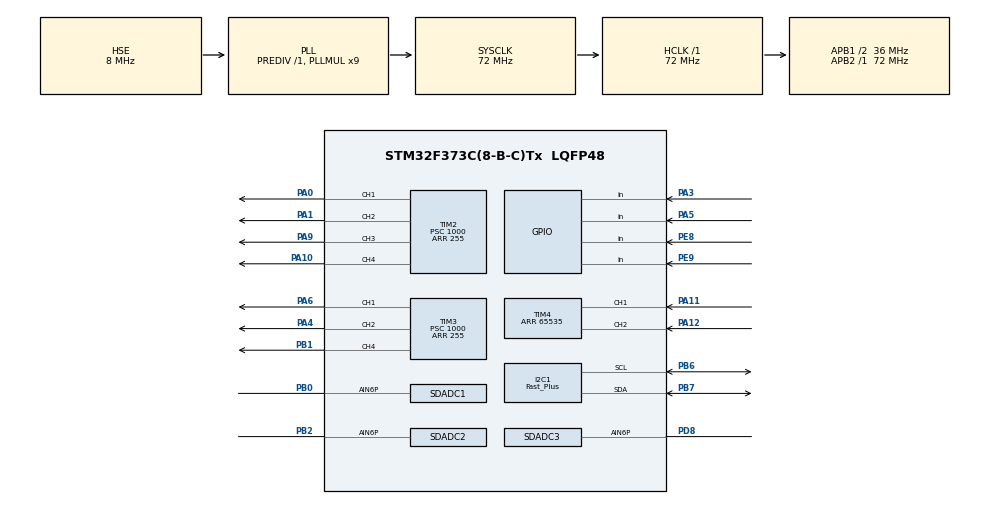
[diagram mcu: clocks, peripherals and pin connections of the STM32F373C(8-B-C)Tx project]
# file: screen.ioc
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Dma.Request0=SDADC1
Dma.Request1=SDADC2
Dma.Request2=SDADC3
Dma.SDADC1.0.Direction=DMA_PERIPH_TO_MEMORY
Dma.SDADC1.0.Instance=DMA2_Channel3
Dma.SDADC1.0.MemDataAlignment=DMA_MDATAALIGN_HALFWORD
Dma.SDADC1.0.MemInc=DMA_MINC_ENABLE
Dma.SDADC1.0.Mode=DMA_NORMAL
Dma.SDADC1.0.PeriphDataAlignment=DMA_PDATAALIGN_HALFWORD
Dma.SDADC1.0.PeriphInc=DMA_PINC_DISABLE
Dma.SDADC1.0.Priority=DMA_PRIORITY_HIGH
Dma.SDADC2.1.Direction=DMA_PERIPH_TO_MEMORY
Dma.SDADC2.1.Instance=DMA2_Channel4
Dma.SDADC2.1.MemDataAlignment=DMA_MDATAALIGN_HALFWORD
Dma.SDADC2.1.MemInc=DMA_MINC_ENABLE
Dma.SDADC2.1.Mode=DMA_NORMAL
Dma.SDADC2.1.PeriphDataAlignment=DMA_PDATAALIGN_HALFWORD
Dma.SDADC2.1.PeriphInc=DMA_PINC_DISABLE
Dma.SDADC2.1.Priority=DMA_PRIORITY_HIGH
Dma.SDADC3.2.Direction=DMA_PERIPH_TO_MEMORY
Dma.SDADC3.2.Instance=DMA2_Channel5
Dma.SDADC3.2.MemDataAlignment=DMA_MDATAALIGN_HALFWORD
Dma.SDADC3.2.MemInc=DMA_MINC_ENABLE
Dma.SDADC3.2.Mode=DMA_NORMAL
Dma.SDADC3.2.PeriphDataAlignment=DMA_PDATAALIGN_HALFWORD
Dma.SDADC3.2.PeriphInc=DMA_PINC_DISABLE
Dma.SDADC3.2.Priority=DMA_PRIORITY_HIGH
I2C1.Analog_Filter=I2C_ANALOGFILTER_DISABLE
I2C1.I2C_Speed_Mode=I2C_Fast_Plus
I2C1.Timing=0x00000002
Mcu.Family=STM32F3
Mcu.Name=STM32F373C(8-B-C)Tx
Mcu.Package=LQFP48
NVIC.DMA2_Channel3_IRQn=true\:0\:0\:false\:false\:true\:false\:true
NVIC.DMA2_Channel4_IRQn=true\:0\:0\:false\:false\:true\:false\:true
NVIC.DMA2_Channel5_IRQn=true\:0\:0\:false\:false\:true\:false\:true
NVIC.PriorityGroup=NVIC_PRIORITYGROUP_4
NVIC.TIM14_IRQn=true\:0\:0\:false\:false\:true\:true\:true
PA0.Signal=S_TIM2_CH1_ETR
PA1.Signal=S_TIM2_CH2
PA10.Signal=S_TIM2_CH4
PA11.GPIO_PuPd=GPIO_PULLUP
PA11.Signal=S_TIM4_CH1
PA12.GPIO_PuPd=GPIO_PULLUP
PA12.Signal=S_TIM4_CH2
PA13.Mode=Serial_Wire
PA13.Signal=SYS_JTMS-SWDIO
PA14.Mode=Serial_Wire
PA14.Signal=SYS_JTCK-SWCLK
PA3.GPIO_PuPd=GPIO_PULLUP
PA3.Signal=GPIO_Input
PA4.Signal=S_TIM3_CH2
PA5.GPIO_PuPd=GPIO_PULLUP
PA5.Signal=GPIO_Input
PA6.Signal=S_TIM3_CH1
PA9.Signal=S_TIM2_CH3
PB0.Mode=IN6-Single-Ended zero reference
PB0.Signal=SDADC1_AIN6P
PB1.Signal=S_TIM3_CH4
PB2.Mode=IN6-Single-Ended zero reference
PB2.Signal=SDADC2_AIN6P
PB6.Mode=I2C
PB6.Signal=I2C1_SCL
PB7.Mode=I2C
PB7.Signal=I2C1_SDA
PD8.Mode=IN6-Single-Ended zero reference
PD8.Signal=SDADC3_AIN6P
PE8.GPIO_PuPd=GPIO_PULLUP
PE8.Signal=GPIO_Input
PE9.GPIO_PuPd=GPIO_PULLUP
PE9.Signal=GPIO_Input
PF0-OSC_IN.Mode=HSE-External-Oscillator
PF0-OSC_IN.Signal=RCC_OSC_IN
PF1-OSC_OUT.Mode=HSE-External-Oscillator
PF1-OSC_OUT.Signal=RCC_OSC_OUT
ProjectManager.HeapSize=0x200
ProjectManager.StackSize=0x400
ProjectManager.TargetToolchain=Makefile
RCC.AHBFreq_Value=72000000
RCC.APB1CLKDivider=RCC_HCLK_DIV2
RCC.APB1Freq_Value=36000000
RCC.APB1TimFreq_Value=72000000
RCC.APB2Freq_Value=72000000
RCC.APB2TimFreq_Value=72000000
RCC.CortexFreq_Value=72000000
RCC.HCLKFreq_Value=72000000
RCC.HSE_VALUE=8000000
RCC.HSI_VALUE=8000000
RCC.LSE_VALUE=32768
RCC.PLLMUL=RCC_PLL_MUL9
RCC.PLLSourceVirtual=RCC_PLLSOURCE_HSE
RCC.SDADCPresc=RCC_SDADCSYSCLK_DIV12
RCC.SYSCLKFreq_VALUE=72000000
RCC.SYSCLKSource=RCC_SYSCLKSOURCE_PLLCLK
RCC.USBFreq_Value=72000000
SDADC1.CommonMode0=SDADC_COMMON_MODE_VSSA
SDADC1.EnableInjectedConversion=ENABLE
SDADC1.EnableRegularconversion=DISABLE
SDADC1.FastConversionMode=SDADC_FAST_CONV_ENABLE
SDADC1.IdleLowPowerMode=SDADC_LOWPOWER_NONE
SDADC1.InjNumberOfConversion=1
SDADC1.InjectedChannel-0\#ChannelInjectedConversion=SDADC_CHANNEL_6
SDADC1.InjectedChannelsSelection=SDADC_CHANNEL_6
SDADC1.InjectedConfIndex-0\#ChannelInjectedConversion=SDADC_CONF_INDEX_0
SDADC1.InjectedContinuousMode=SDADC_CONTINUOUS_CONV_ON
SDADC1.InjectedExtTrigger=SDADC_EXT_TRIG_TIM19_CC2
SDADC1.InjectedRank-0\#ChannelInjectedConversion=1
SDADC1.InjectedTrigger=SDADC_EXTERNAL_TRIGGER
SDADC1.InputMode0=SDADC_INPUT_MODE_SE_ZERO_REFERENCE
SDADC1.NbrOfConversionFlag=1
SDADC1.ReferenceVoltage=SDADC_VREF_VDDA
SDADC2.EnableInjectedConversion=ENABLE
SDADC2.EnableRegularconversion=DISABLE
SDADC2.FastConversionMode=SDADC_FAST_CONV_ENABLE
SDADC2.InjNumberOfConversion=1
SDADC2.InjectedChannel-0\#ChannelInjectedConversion=SDADC_CHANNEL_6
SDADC2.InjectedChannelsSelection=SDADC_CHANNEL_6
SDADC2.InjectedConfIndex-0\#ChannelInjectedConversion=SDADC_CONF_INDEX_0
SDADC2.InjectedContinuousMode=SDADC_CONTINUOUS_CONV_ON
SDADC2.InjectedExtTrigger=SDADC_EXT_TRIG_TIM19_CC3
SDADC2.InjectedRank-0\#ChannelInjectedConversion=1
SDADC2.InjectedTrigger=SDADC_EXTERNAL_TRIGGER
SDADC2.InputMode0=SDADC_INPUT_MODE_SE_ZERO_REFERENCE
SDADC2.NbrOfConversionFlag=1
SDADC2.ReferenceVoltage=SDADC_VREF_VDDA
SDADC3.EnableInjectedConversion=ENABLE
SDADC3.EnableRegularconversion=DISABLE
SDADC3.FastConversionMode=SDADC_FAST_CONV_ENABLE
SDADC3.InjNumberOfConversion=1
SDADC3.InjectedChannel-0\#ChannelInjectedConversion=SDADC_CHANNEL_6
SDADC3.InjectedChannelsSelection=SDADC_CHANNEL_6
SDADC3.InjectedConfIndex-0\#ChannelInjectedConversion=SDADC_CONF_INDEX_0
SDADC3.InjectedContinuousMode=SDADC_CONTINUOUS_CONV_ON
SDADC3.InjectedExtTrigger=SDADC_EXT_TRIG_TIM19_CC4
SDADC3.InjectedRank-0\#ChannelInjectedConversion=1
SDADC3.InjectedTrigger=SDADC_EXTERNAL_TRIGGER
SDADC3.InputMode0=SDADC_INPUT_MODE_SE_ZERO_REFERENCE
SDADC3.NbrOfConversionFlag=1
SDADC3.ReferenceVoltage=SDADC_VREF_VDDA
SH.S_TIM2_CH1_ETR.0=TIM2_CH1,PWM Generation1 CH1
SH.S_TIM2_CH2.0=TIM2_CH2,PWM Generation2 CH2
SH.S_TIM2_CH3.0=TIM2_CH3,PWM Generation3 CH3
SH.S_TIM2_CH4.0=TIM2_CH4,PWM Generation4 CH4
SH.S_TIM3_CH1.0=TIM3_CH1,PWM Generation1 CH1
SH.S_TIM3_CH2.0=TIM3_CH2,PWM Generation2 CH2
SH.S_TIM3_CH4.0=TIM3_CH4,PWM Generation4 CH4
SH.S_TIM4_CH1.0=TIM4_CH1,Encoder_Interface
SH.S_TIM4_CH2.0=TIM4_CH2,Encoder_Interface
TIM14.Channel=TIM_CHANNEL_1
TIM14.Period=999
TIM14.Prescaler=71
TIM19.Channel-PWM\ Generation2\ No\ Output=TIM_CHANNEL_2
TIM19.Channel-PWM\ Generation3\ No\ Output=TIM_CHANNEL_3
TIM19.Channel-PWM\ Generation4\ No\ Output=TIM_CHANNEL_4
TIM19.Period=2249
TIM19.Pulse-PWM\ Generation2\ No\ Output=1
TIM19.Pulse-PWM\ Generation3\ No\ Output=1
TIM19.Pulse-PWM\ Generation4\ No\ Output=1
TIM2.Channel-PWM\ Generation1\ CH1=TIM_CHANNEL_1
TIM2.Channel-PWM\ Generation2\ CH2=TIM_CHANNEL_2
TIM2.Channel-PWM\ Generation3\ CH3=TIM_CHANNEL_3
TIM2.Channel-PWM\ Generation4\ CH4=TIM_CHANNEL_4
TIM2.Period=255
TIM2.Prescaler=1000
TIM3.Channel-PWM\ Generation1\ CH1=TIM_CHANNEL_1
TIM3.Channel-PWM\ Generation2\ CH2=TIM_CHANNEL_2
TIM3.Channel-PWM\ Generation4\ CH4=TIM_CHANNEL_4
TIM3.Period=255
TIM3.Prescaler=1000
TIM4.IC1Polarity=TIM_ICPOLARITY_FALLING
TIM4.IC2Polarity=TIM_ICPOLARITY_FALLING
TIM4.Period=65535
VP_SDADC1_CONF0.Mode=ConfigZero
VP_SDADC2_CONF0.Mode=ConfigZero
VP_SDADC3_CONF0.Mode=ConfigZero
VP_TIM14_VS_ClockSourceINT.Mode=Enable_Timer
VP_TIM14_VS_no_output1.Mode=Output Compare1 No Output
VP_TIM19_VS_no_output2.Mode=PWM Generation2 No Output
VP_TIM19_VS_no_output3.Mode=PWM Generation3 No Output
VP_TIM19_VS_no_output4.Mode=PWM Generation4 No Output
board=custom

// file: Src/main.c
/* USER CODE BEGIN Header */
/**
  ******************************************************************************
  * @file           : main.c
  * @brief          : Main program body
  ******************************************************************************
  * @attention
  *
  * <h2><center>&copy; Copyright (c) 2020 STMicroelectronics.
  * All rights reserved.</center></h2>
  *
  * This software component is licensed by ST under BSD 3-Clause license,
  * the "License"; You may not use this file except in compliance with the
  * License. You may obtain a copy of the License at:
  *                        opensource.org/licenses/BSD-3-Clause
  *
  ******************************************************************************
  */
/* USER CODE END Header */

#include "main.h"
#include "dma.h"
#include "i2c.h"
#include "sdadc.h"
#include "tim.h"
#include "gpio.h"

/* USER CODE BEGIN Includes */

#include <stdlib.h>
#include <stdint.h>
#include <stdbool.h>
#include "stm32f373xc.h"

#include "acquisition.h"
#include "configuration.h"
#include "led.h"
#include "process.h"
/* USER CODE END Includes */

/* USER CODE BEGIN PD */
#define USE_HAL_SDADC_REGISTER_CALLBACKS
/* USER CODE END PD */

void SystemClock_Config(void);

int main(void)
{

  /* MCU Configuration--------------------------------------------------------*/

  /* Reset of all peripherals, Initializes the Flash interface and the Systick. */
  HAL_Init();

  /* Configure the system clock */
  SystemClock_Config();

  /* Initialize all configured peripherals */
  MX_GPIO_Init();
  MX_DMA_Init();
  MX_I2C1_Init();
  MX_SDADC1_Init();
  MX_SDADC2_Init();
  MX_SDADC3_Init();
  MX_TIM4_Init();
  MX_TIM2_Init();
  MX_TIM3_Init();
  MX_TIM14_Init();
  MX_TIM19_Init();

  /* USER CODE BEGIN 2 */
  __HAL_TIM_ENABLE(&htim4); // enc

  // FFT_Init();
  Led_Init();
  Config_Init(); // CONFIG BEFORE ACQUISITION

  Acquisition_Init();

  Display_Init();
  /* USER CODE END 2 */

  /* Infinite loop */
  /* USER CODE BEGIN WHILE */
  while (1)
  {
    Process();
    /* USER CODE END WHILE */
  }
}

void SystemClock_Config(void)
{
  RCC_OscInitTypeDef RCC_OscInitStruct = {0};
  RCC_ClkInitTypeDef RCC_ClkInitStruct = {0};
  RCC_PeriphCLKInitTypeDef PeriphClkInit = {0};

  /**Initializes the CPU, AHB and APB busses clocks
  */
  RCC_OscInitStruct.OscillatorType = RCC_OSCILLATORTYPE_HSI|RCC_OSCILLATORTYPE_HSE;
  RCC_OscInitStruct.HSEState = RCC_HSE_ON;
  RCC_OscInitStruct.HSEPredivValue = RCC_HSE_PREDIV_DIV1;
  RCC_OscInitStruct.HSIState = RCC_HSI_ON;
  RCC_OscInitStruct.HSICalibrationValue = RCC_HSICALIBRATION_DEFAULT;
  RCC_OscInitStruct.PLL.PLLState = RCC_PLL_ON;
  RCC_OscInitStruct.PLL.PLLSource = RCC_PLLSOURCE_HSE;
  RCC_OscInitStruct.PLL.PLLMUL = RCC_PLL_MUL9;
  if (HAL_RCC_OscConfig(&RCC_OscInitStruct) != HAL_OK)
  {
    Error_Handler();
  }
  /**Initializes the CPU, AHB and APB busses clocks
  */
  RCC_ClkInitStruct.ClockType = RCC_CLOCKTYPE_HCLK|RCC_CLOCKTYPE_SYSCLK
                              |RCC_CLOCKTYPE_PCLK1|RCC_CLOCKTYPE_PCLK2;
  RCC_ClkInitStruct.SYSCLKSource = RCC_SYSCLKSOURCE_PLLCLK;
  RCC_ClkInitStruct.AHBCLKDivider = RCC_SYSCLK_DIV1;
  RCC_ClkInitStruct.APB1CLKDivider = RCC_HCLK_DIV2;
  RCC_ClkInitStruct.APB2CLKDivider = RCC_HCLK_DIV1;

  if (HAL_RCC_ClockConfig(&RCC_ClkInitStruct, FLASH_LATENCY_2) != HAL_OK)
  {
    Error_Handler();
  }
  PeriphClkInit.PeriphClockSelection = RCC_PERIPHCLK_I2C1|RCC_PERIPHCLK_SDADC;
  PeriphClkInit.I2c1ClockSelection = RCC_I2C1CLKSOURCE_HSI;
  PeriphClkInit.SdadcClockSelection = RCC_SDADCSYSCLK_DIV12;
  if (HAL_RCCEx_PeriphCLKConfig(&PeriphClkInit) != HAL_OK)
  {
    Error_Handler();
  }
  HAL_PWREx_EnableSDADC(PWR_SDADC_ANALOG1);
  HAL_PWREx_EnableSDADC(PWR_SDADC_ANALOG2);
  HAL_PWREx_EnableSDADC(PWR_SDADC_ANALOG3);
}

void Error_Handler(void)
{
}

/************************ (C) COPYRIGHT STMicroelectronics *****END OF FILE****/
